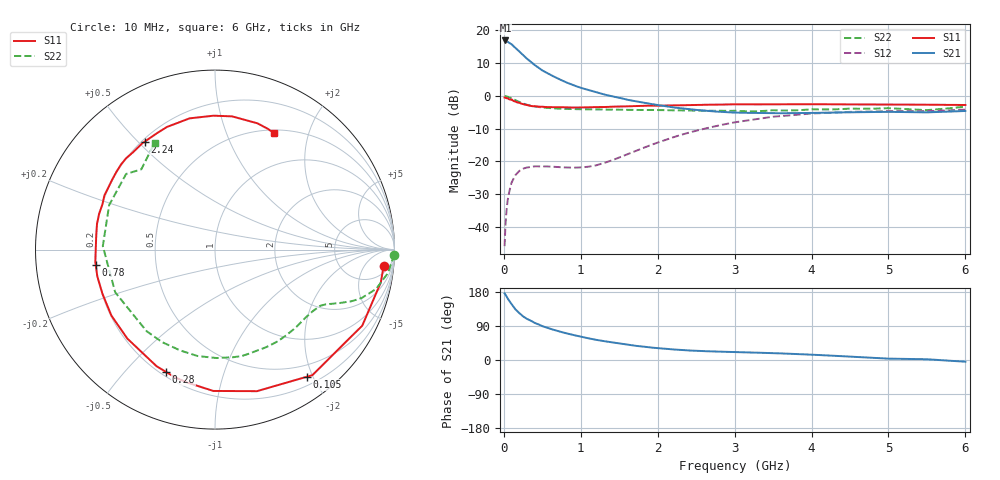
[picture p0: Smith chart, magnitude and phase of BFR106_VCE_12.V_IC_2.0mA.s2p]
! Infineon Technologies  Discrete & RF Semiconductors
! BFR106
! VCE =  12. V,  IC =  2.0 mA
! Common Emitter S-Parameters:  Nov 2015
# GHz  S  MA  R  50
!  f  S11  S21  S12  S22
! GHz  MAG  ANG  MAG  ANG  MAG  ANG  MAG  ANG
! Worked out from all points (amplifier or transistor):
!   210 points, 10 MHz to 6 GHz, reference 50 ohm
!   highest |S21| = 16.9 dB at 20 MHz (marker M1)
!   |S21| within 3 dB of that: start of sweep to 184.9 MHz
!   unconditionally stable (mu >= 1): 785.4 MHz to 1.799 GHz; 4.125 GHz to end of sweep
!   at 185 MHz: K = 0.24, MSG = 18.6 dB, |S12| = -23.3 dB
!   at 1.52 GHz: K = 1.17, MAG = 6.5 dB, |S12| = -18.6 dB
!   at 6 GHz: K = 1.02, MAG = -1.1 dB, |S12| = -4.2 dB
!   S11 on the Smith chart (normalised r, x): 10 MHz: 9, -15; 105 MHz: 0.32, -1.91; 280 MHz: 0.22, -0.65; 780 MHz: 0.20, -0.06; 2.24 GHz: 0.21, +0.52; 6 GHz: 0.54, +1.49
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0.01  0.9443 -5.4  7.01 175.7  0.0051 89.2  0.9988 -1.6
0.02  0.9417 -11.2  7.013 173.0  0.0101 86.9  0.9912 -3.1
0.05  0.9235 -27.3  6.719 162.0  0.0257 74.7  0.9736 -7.6
0.105  0.8739 -54.2  6.067 146.2  0.0487 61.6  0.9169 -14.2
0.15  0.8227 -73.5  5.434 133.5  0.0618 52.0  0.8604 -18.3
0.2  0.7876 -90.7  4.784 123.9  0.0714 44.9  0.8095 -20.9
0.24  0.7561 -102.2  4.302 116.9  0.0764 40.0  0.7731 -22.4
0.28  0.7338 -111.9  3.892 111.3  0.0795 36.9  0.7451 -23.6
0.3  0.7268 -116.6  3.701 108.5  0.0808 35.7  0.7326 -24.2
0.4  0.6959 -134.6  2.967 98.0  0.0842 30.5  0.6896 -26.2
0.5  0.6844 -147.5  2.448 89.3  0.0843 28.5  0.6649 -28.1
0.6  0.6736 -158.5  2.108 82.4  0.0837 28.6  0.6511 -30.5
0.78  0.6701 -172.7  1.671 72.1  0.0812 32.7  0.6343 -35.3
1.02  0.6672 172.0  1.308 60.6  0.0813 44.1  0.6263 -42.4
1.4  0.686 153.9  0.988 46.7  0.1032 64.9  0.619 -55.7
2.02  0.7089 130.2  0.72 31.0  0.1978 74.3  0.6072 -81.1
2.24  0.7181 123.0  0.66 27.4  0.2415 72.5  0.6021 -91.1
3.1  0.7431 98.9  0.553 20.3  0.4109 54.8  0.585 -135.3
3.5  0.7461 90.6  0.543 18.2  0.4818 45.4  0.6048 -156.8
4.1  0.7464 81.5  0.552 13.1  0.5443 30.9  0.6213 173.9
5.1  0.7401 70.4  0.569 3.3  0.5856 12.1  0.6408 138.3
6  0.7267 63.2  0.589 -4.5  0.6171 0.1  0.6838 119.5
